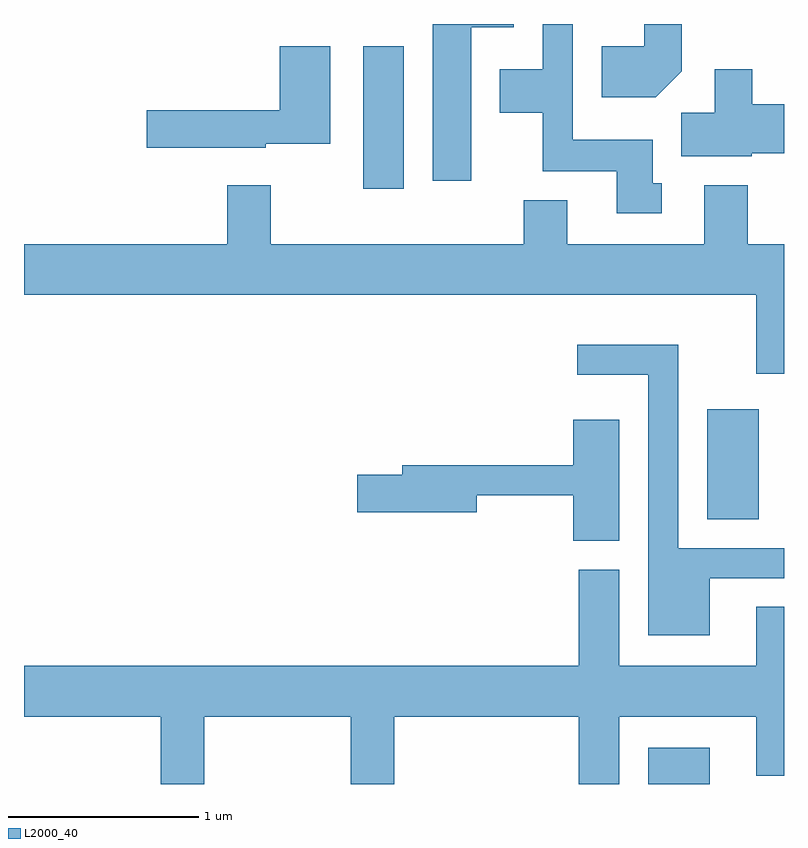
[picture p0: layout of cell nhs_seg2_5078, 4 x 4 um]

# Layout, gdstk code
import gdstk
lib = gdstk.Library(unit=1e-6, precision=1e-09)
def R(c, l, rs):  # rectangles x0, y0, x1, y1
    for r in rs: c.add(gdstk.rectangle(r[:2], r[2:], *l))
def P(c, l, *ps):  # polygons
    for p in ps: c.add(gdstk.Polygon(p, *l))
L2000_40 = (2000, 40)

nhs_seg2_5078 = lib.new_cell('nhs_seg2_5078')
R(nhs_seg2_5078, L2000_40, [(338.896,985.802,339.219,985.994), (339.206,987.196,339.479,987.774), (337.396,988.936,337.609,989.684)])
P(nhs_seg2_5078, L2000_40, [(337.964,989.786),(338.189,989.786),(338.189,989.802),(337.761,989.802),(337.761,988.976),(337.964,988.976)],
  [(339.074,989.554),(339.074,989.802),(338.876,989.802),(338.876,989.684),(338.651,989.684),(338.651,989.416),(338.937,989.416)],
  [(338.968,988.964),(338.919,988.964),(338.919,989.194),(338.499,989.194),(338.499,989.802),(338.341,989.802),(338.341,989.564),(338.116,989.564),(338.116,989.336),(338.341,989.336),(338.341,989.026),(338.731,989.026),(338.731,988.806),(338.968,988.806)],
  [(336.884,989.171),(337.224,989.171),(337.224,989.684),(336.956,989.684),(336.956,989.349),(336.256,989.349),(336.256,989.151),(336.884,989.151)],
  [(339.44,989.121),(339.611,989.121),(339.611,989.379),(339.444,989.379),(339.444,989.564),(339.246,989.564),(339.246,989.334),(339.071,989.334),(339.071,989.106),(339.44,989.106)],
  [(339.611,988.644),(339.419,988.644),(339.419,988.954),(339.191,988.954),(339.191,988.644),(338.469,988.644),(338.469,988.874),(338.241,988.874),(338.241,988.644),(336.909,988.644),(336.909,988.954),(336.681,988.954),(336.681,988.644),(335.611,988.644),(335.611,988.376),(339.466,988.376),(339.466,987.961),(339.611,987.961)],
  [(339.219,986.886),(339.611,986.886),(339.611,987.044),(339.054,987.044),(339.054,988.114),(338.523,988.114),(338.523,987.956),(338.896,987.956),(338.896,986.586),(339.219,986.586)],
  [(338.744,987.719),(338.501,987.719),(338.501,987.479),(337.601,987.479),(337.601,987.429),(337.366,987.429),(337.366,987.231),(337.994,987.231),(337.994,987.321),(338.501,987.321),(338.501,987.081),(338.744,987.081)],
  [(336.559,986.156),(337.331,986.156),(337.331,985.802),(337.559,985.802),(337.559,986.156),(338.531,986.156),(338.531,985.802),(338.744,985.802),(338.744,986.156),(339.466,986.156),(339.466,985.846),(339.611,985.846),(339.611,986.734),(339.466,986.734),(339.466,986.424),(338.744,986.424),(338.744,986.929),(338.531,986.929),(338.531,986.424),(335.611,986.424),(335.611,986.156),(336.331,986.156),(336.331,985.802),(336.559,985.802)])

lib.write_gds('nhs_seg2_5078.gds')
